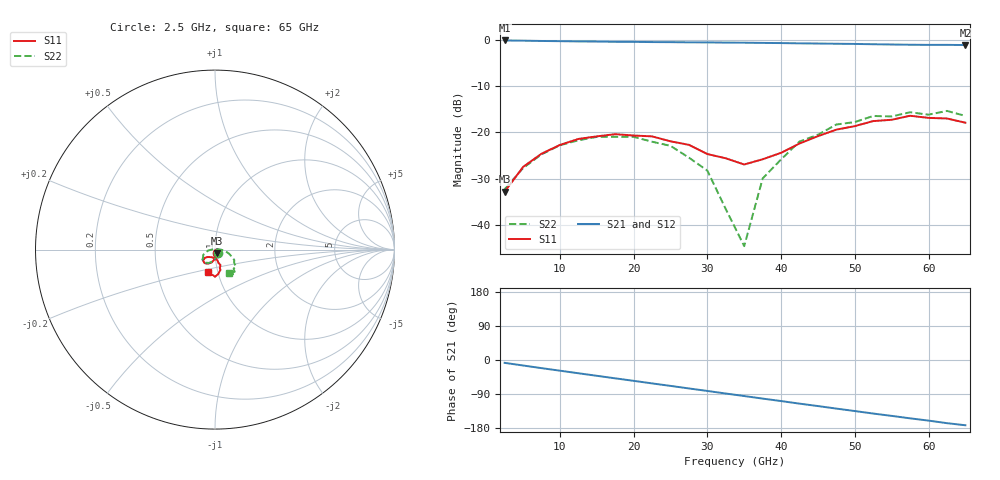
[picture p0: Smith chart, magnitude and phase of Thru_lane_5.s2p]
! File created by SignalIntegrity v1.5.1: Signal and Power Integrity Tools
! https://github.com/Nubis-Communications/SignalIntegrity
# MHz S MA R 50.0
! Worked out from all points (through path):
!   26 points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, 2.5 GHz to 65 GHz, reference 50 ohm
!   highest |S21| = -0.17 dB at 2.5 GHz (marker M1); lowest = -1.2 dB at 65 GHz (marker M2)
!   group delay of S21, straight-line fit = 7.35 ps
!   lowest |S11| = -32.8 dB at 2.5 GHz (marker M3), VSWR 1.05, Z = 51.2 - j2.01 ohm
!   |S11| at or under -10 dB: start of sweep to end of sweep
!   |S22| runs from -44.5 to -15.4 dB; largest |S21 - S12| = 0.0062
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2500  0.0229 -58.8  0.9811 -7.5  0.9804 -7.5  0.02436 -53.6
5000  0.04243 -78.8  0.9759 -14.5  0.9768 -14.5  0.04121 -83.4
7500  0.05892 -95.9  0.9686 -21.4  0.9677 -21.4  0.05799 -93.7
10000  0.07329 -103.9  0.964 -28.2  0.9649 -28.2  0.0727 -107.8
15000  0.09067 -120.1  0.9551 -41.7  0.9557 -41.7  0.08947 -125.6
20000  0.09262 -132.3  0.9472 -55.0  0.9481 -55.0  0.08968 -141.3
22500  0.09064 -137.7  0.9425 -61.8  0.9414 -61.8  0.07937 -146.8
25000  0.0802 -139.1  0.9407 -68.3  0.9414 -68.3  0.07168 -155.9
27500  0.07347 -141.0  0.9364 -75.1  0.9358 -75.1  0.05346 -162.1
30000  0.05847 -135.0  0.9348 -81.7  0.936 -81.6  0.03876 -172.9
35000  0.0451 -107.7  0.9281 -95.1  0.9289 -95.0  0.005935 51.7
37500  0.05136 -93.5  0.9232 -101.8  0.9223 -101.9  0.03187 -0.0
42500  0.07594 -75.6  0.9131 -115.2  0.9137 -115.3  0.07976 -15.5
45000  0.09119 -70.6  0.9092 -121.5  0.9105 -121.4  0.09444 -21.1
47500  0.1072 -75.4  0.9041 -128.2  0.9042 -128.3  0.1217 -28.1
50000  0.1169 -75.0  0.8999 -134.7  0.8999 -134.6  0.1294 -34.6
52500  0.1325 -81.1  0.8931 -141.3  0.8926 -141.4  0.1504 -39.1
55000  0.1369 -82.1  0.8875 -147.5  0.8899 -147.3  0.1487 -45.9
57500  0.1512 -90.1  0.8822 -153.9  0.882 -154.2  0.1651 -48.3
60000  0.1435 -93.9  0.8793 -159.9  0.8824 -159.6  0.1554 -54.4
62500  0.1414 -103.7  0.8794 -166.7  0.8801 -166.9  0.1706 -53.8
65000  0.1273 -106.6  0.8757 -172.2  0.8761 -171.8  0.1507 -59.8
